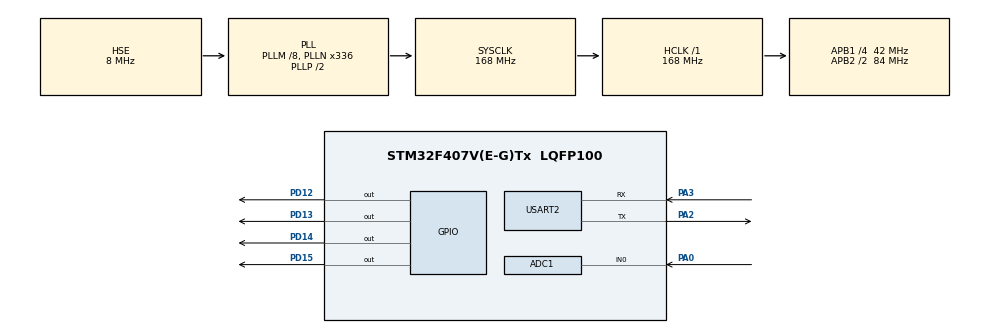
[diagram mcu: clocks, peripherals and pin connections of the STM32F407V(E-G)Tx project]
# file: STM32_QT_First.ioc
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ADC1.Channel-0\#ChannelRegularConversion=ADC_CHANNEL_0
ADC1.NbrOfConversionFlag=1
ADC1.Rank-0\#ChannelRegularConversion=1
ADC1.SamplingTime-0\#ChannelRegularConversion=ADC_SAMPLETIME_144CYCLES
ADC1.master=1
Mcu.Family=STM32F4
Mcu.Name=STM32F407V(E-G)Tx
Mcu.Package=LQFP100
NVIC.PriorityGroup=NVIC_PRIORITYGROUP_0
NVIC.USART2_IRQn=true\:0\:0\:false\:false\:true\:true\:true\:true
PA0-WKUP.Signal=ADCx_IN0
PA13.Mode=Serial_Wire
PA13.Signal=SYS_JTMS-SWDIO
PA14.Mode=Serial_Wire
PA14.Signal=SYS_JTCK-SWCLK
PA2.Mode=Asynchronous
PA2.Signal=USART2_TX
PA3.Mode=Asynchronous
PA3.Signal=USART2_RX
PD12.Signal=GPIO_Output
PD13.Signal=GPIO_Output
PD14.Signal=GPIO_Output
PD15.Signal=GPIO_Output
PH0-OSC_IN.Mode=HSE-External-Oscillator
PH0-OSC_IN.Signal=RCC_OSC_IN
PH1-OSC_OUT.Mode=HSE-External-Oscillator
PH1-OSC_OUT.Signal=RCC_OSC_OUT
ProjectManager.HeapSize=0x200
ProjectManager.StackSize=0x400
ProjectManager.TargetToolchain=CMake
RCC.48MHZClocksFreq_Value=48000000
RCC.AHBFreq_Value=168000000
RCC.APB1CLKDivider=RCC_HCLK_DIV4
RCC.APB1Freq_Value=42000000
RCC.APB1TimFreq_Value=84000000
RCC.APB2CLKDivider=RCC_HCLK_DIV2
RCC.APB2Freq_Value=84000000
RCC.APB2TimFreq_Value=168000000
RCC.CortexFreq_Value=168000000
RCC.HCLKFreq_Value=168000000
RCC.HSE_VALUE=8000000
RCC.HSI_VALUE=16000000
RCC.LSE_VALUE=32768
RCC.PLLM=8
RCC.PLLN=336
RCC.PLLQ=7
RCC.PLLSourceVirtual=RCC_PLLSOURCE_HSE
RCC.SYSCLKFreq_VALUE=168000000
RCC.SYSCLKSource=RCC_SYSCLKSOURCE_PLLCLK
RCC.VCOOutputFreq_Value=336000000
SH.ADCx_IN0.0=ADC1_IN0,IN0
USART2.VirtualMode=VM_ASYNC
board=STM32F407G-DISC1

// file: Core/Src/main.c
/* USER CODE BEGIN Header */
/**
  ******************************************************************************
  * @file           : main.c
  * @brief          : Main program body
  ******************************************************************************
  * @attention
  *
  * Copyright (c) 2026 STMicroelectronics.
  * All rights reserved.
  *
  * This software is licensed under terms that can be found in the LICENSE file
  * in the root directory of this software component.
  * If no LICENSE file comes with this software, it is provided AS-IS.
  *
  ******************************************************************************
  */
/* USER CODE END Header */
#include "main.h"
#include "stm32f4xx_hal_gpio.h"

/* USER CODE BEGIN Includes */

#include <stdio.h>
#include <string.h>

/* USER CODE END Includes */

ADC_HandleTypeDef hadc1;

UART_HandleTypeDef huart2;

void SystemClock_Config(void);
static void MX_GPIO_Init(void);
static void MX_ADC1_Init(void);
static void MX_USART2_UART_Init(void);

/* USER CODE BEGIN 0 */

uint8_t rxData[1]; // PC->STM32 (1 byte)
char txBuffer[20]; // STM32->PC

void HAL_UART_RxCpltCallback(UART_HandleTypeDef *huart) {
    if(huart->Instance == USART2) {

        if(rxData[0] == '1') {
            HAL_GPIO_WritePin(GPIOD, GPIO_PIN_All, GPIO_PIN_SET);   // LED YAK
        }
        else if(rxData[0] == '0') {
            HAL_GPIO_WritePin(GPIOD, GPIO_PIN_All, GPIO_PIN_RESET); // LED SÖNDÜR
        }

        // Set the cut-off point again to listen to the next character
        HAL_UART_Receive_IT(&huart2, rxData, 1);
    }
}

/* USER CODE END 0 */

int main(void)
{

  /* MCU Configuration--------------------------------------------------------*/

  /* Reset of all peripherals, Initializes the Flash interface and the Systick. */
  HAL_Init();

  /* Configure the system clock */
  SystemClock_Config();

  /* Initialize all configured peripherals */
  MX_GPIO_Init();
  MX_ADC1_Init();
  MX_USART2_UART_Init();
  /* USER CODE BEGIN 2 */

  HAL_UART_Receive_IT(&huart2, rxData, 1);

  /* USER CODE END 2 */

  /* Infinite loop */
  while (1)
  {

    /* USER CODE BEGIN 3 */

  // 1. Reading ADC1 Data
  HAL_ADC_Start(&hadc1);
  HAL_ADC_PollForConversion(&hadc1, 100);
  uint32_t sensorValue = HAL_ADC_GetValue(&hadc1);
  HAL_ADC_Stop(&hadc1);

  // 2. Convert the data to the format expected by Qt (“S:Value\n”)
  sprintf(txBuffer, "S:%lu\n", sensorValue);

  // 3. Send to PC
  HAL_UART_Transmit(&huart2, (uint8_t*)txBuffer, strlen(txBuffer), 100);

  HAL_Delay(200);
  }
  /* USER CODE END 3 */
}

void SystemClock_Config(void)
{
  RCC_OscInitTypeDef RCC_OscInitStruct = {0};
  RCC_ClkInitTypeDef RCC_ClkInitStruct = {0};

  /** Configure the main internal regulator output voltage
  */
  __HAL_RCC_PWR_CLK_ENABLE();
  __HAL_PWR_VOLTAGESCALING_CONFIG(PWR_REGULATOR_VOLTAGE_SCALE1);

  /** Initializes the RCC Oscillators according to the specified parameters
  * in the RCC_OscInitTypeDef structure.
  */
  RCC_OscInitStruct.OscillatorType = RCC_OSCILLATORTYPE_HSE;
  RCC_OscInitStruct.HSEState = RCC_HSE_ON;
  RCC_OscInitStruct.PLL.PLLState = RCC_PLL_ON;
  RCC_OscInitStruct.PLL.PLLSource = RCC_PLLSOURCE_HSE;
  RCC_OscInitStruct.PLL.PLLM = 8;
  RCC_OscInitStruct.PLL.PLLN = 336;
  RCC_OscInitStruct.PLL.PLLP = RCC_PLLP_DIV2;
  RCC_OscInitStruct.PLL.PLLQ = 7;
  if (HAL_RCC_OscConfig(&RCC_OscInitStruct) != HAL_OK)
  {
    Error_Handler();
  }

  /** Initializes the CPU, AHB and APB buses clocks
  */
  RCC_ClkInitStruct.ClockType = RCC_CLOCKTYPE_HCLK|RCC_CLOCKTYPE_SYSCLK
                              |RCC_CLOCKTYPE_PCLK1|RCC_CLOCKTYPE_PCLK2;
  RCC_ClkInitStruct.SYSCLKSource = RCC_SYSCLKSOURCE_PLLCLK;
  RCC_ClkInitStruct.AHBCLKDivider = RCC_SYSCLK_DIV1;
  RCC_ClkInitStruct.APB1CLKDivider = RCC_HCLK_DIV4;
  RCC_ClkInitStruct.APB2CLKDivider = RCC_HCLK_DIV2;

  if (HAL_RCC_ClockConfig(&RCC_ClkInitStruct, FLASH_LATENCY_5) != HAL_OK)
  {
    Error_Handler();
  }
}

static void MX_ADC1_Init(void)
{

  ADC_ChannelConfTypeDef sConfig = {0};

  /** Configure the global features of the ADC (Clock, Resolution, Data Alignment and number of conversion)
  */
  hadc1.Instance = ADC1;
  hadc1.Init.ClockPrescaler = ADC_CLOCK_SYNC_PCLK_DIV4;
  hadc1.Init.Resolution = ADC_RESOLUTION_12B;
  hadc1.Init.ScanConvMode = DISABLE;
  hadc1.Init.ContinuousConvMode = DISABLE;
  hadc1.Init.DiscontinuousConvMode = DISABLE;
  hadc1.Init.ExternalTrigConvEdge = ADC_EXTERNALTRIGCONVEDGE_NONE;
  hadc1.Init.ExternalTrigConv = ADC_SOFTWARE_START;
  hadc1.Init.DataAlign = ADC_DATAALIGN_RIGHT;
  hadc1.Init.NbrOfConversion = 1;
  hadc1.Init.DMAContinuousRequests = DISABLE;
  hadc1.Init.EOCSelection = ADC_EOC_SINGLE_CONV;
  if (HAL_ADC_Init(&hadc1) != HAL_OK)
  {
    Error_Handler();
  }

  /** Configure for the selected ADC regular channel its corresponding rank in the sequencer and its sample time.
  */
  sConfig.Channel = ADC_CHANNEL_0;
  sConfig.Rank = 1;
  sConfig.SamplingTime = ADC_SAMPLETIME_144CYCLES;
  if (HAL_ADC_ConfigChannel(&hadc1, &sConfig) != HAL_OK)
  {
    Error_Handler();
  }

}

static void MX_USART2_UART_Init(void)
{

  huart2.Instance = USART2;
  huart2.Init.BaudRate = 115200;
  huart2.Init.WordLength = UART_WORDLENGTH_8B;
  huart2.Init.StopBits = UART_STOPBITS_1;
  huart2.Init.Parity = UART_PARITY_NONE;
  huart2.Init.Mode = UART_MODE_TX_RX;
  huart2.Init.HwFlowCtl = UART_HWCONTROL_NONE;
  huart2.Init.OverSampling = UART_OVERSAMPLING_16;
  if (HAL_UART_Init(&huart2) != HAL_OK)
  {
    Error_Handler();
  }

}

static void MX_GPIO_Init(void)
{
  GPIO_InitTypeDef GPIO_InitStruct = {0};

  /* GPIO Ports Clock Enable */
  __HAL_RCC_GPIOH_CLK_ENABLE();
  __HAL_RCC_GPIOA_CLK_ENABLE();
  __HAL_RCC_GPIOD_CLK_ENABLE();

  /*Configure GPIO pin Output Level */
  HAL_GPIO_WritePin(GPIOD, GPIO_PIN_12|GPIO_PIN_13|GPIO_PIN_14|GPIO_PIN_15, GPIO_PIN_RESET);

  /*Configure GPIO pins : PD12 PD13 PD14 PD15 */
  GPIO_InitStruct.Pin = GPIO_PIN_12|GPIO_PIN_13|GPIO_PIN_14|GPIO_PIN_15;
  GPIO_InitStruct.Mode = GPIO_MODE_OUTPUT_PP;
  GPIO_InitStruct.Pull = GPIO_NOPULL;
  GPIO_InitStruct.Speed = GPIO_SPEED_FREQ_LOW;
  HAL_GPIO_Init(GPIOD, &GPIO_InitStruct);

}

void Error_Handler(void)
{
  __disable_irq();
  while (1)
  {
  }
}
